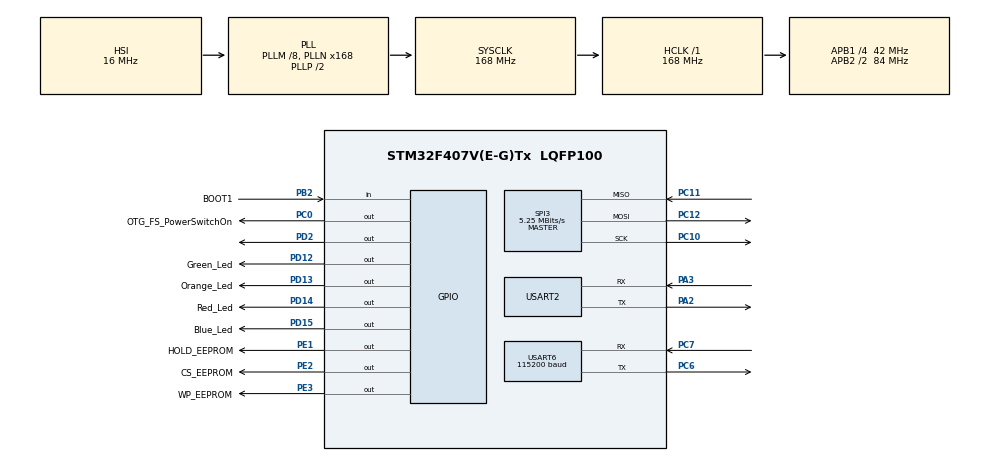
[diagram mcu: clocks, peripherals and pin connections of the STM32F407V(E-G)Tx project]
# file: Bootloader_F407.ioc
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Dma.Request0=USART6_TX
Dma.USART6_TX.0.Direction=DMA_MEMORY_TO_PERIPH
Dma.USART6_TX.0.FIFOMode=DMA_FIFOMODE_DISABLE
Dma.USART6_TX.0.Instance=DMA2_Stream6
Dma.USART6_TX.0.MemDataAlignment=DMA_MDATAALIGN_BYTE
Dma.USART6_TX.0.MemInc=DMA_MINC_ENABLE
Dma.USART6_TX.0.Mode=DMA_NORMAL
Dma.USART6_TX.0.PeriphDataAlignment=DMA_PDATAALIGN_BYTE
Dma.USART6_TX.0.PeriphInc=DMA_PINC_DISABLE
Dma.USART6_TX.0.Priority=DMA_PRIORITY_HIGH
FATFS._FS_EXFAT=1
FATFS._FS_NOFSINFO=3
FATFS._MAX_SS=4096
FATFS._MULTI_PARTITION=1
FATFS._USE_CHMOD=1
FATFS._USE_EXPAND=1
FATFS._USE_FIND=1
FATFS._USE_FORWARD=1
FATFS._USE_LABEL=1
FATFS._USE_LFN=1
FATFS._USE_TRIM=1
Mcu.Family=STM32F4
Mcu.Name=STM32F407V(E-G)Tx
Mcu.Package=LQFP100
NVIC.DMA2_Stream6_IRQn=true\:0\:0\:false\:false\:true\:false\:true
NVIC.PriorityGroup=NVIC_PRIORITYGROUP_4
NVIC.SPI3_IRQn=true\:0\:0\:false\:false\:true\:true\:true
NVIC.USART2_IRQn=true\:0\:0\:false\:false\:true\:true\:true
NVIC.USART6_IRQn=true\:0\:0\:false\:false\:true\:true\:true
PA13.GPIO_Label=SWDIO
PA13.Mode=Serial_Wire
PA13.Signal=SYS_JTMS-SWDIO
PA14.GPIO_Label=SWCLK
PA14.Mode=Serial_Wire
PA14.Signal=SYS_JTCK-SWCLK
PA2.Mode=Asynchronous
PA2.Signal=USART2_TX
PA3.Mode=Asynchronous
PA3.Signal=USART2_RX
PB2.GPIO_Label=BOOT1
PB2.GPIO_Mode=GPIO_MODE_INPUT
PB2.GPIO_PuPd=GPIO_NOPULL
PB2.Signal=GPIO_Input
PC0.GPIO_Label=OTG_FS_PowerSwitchOn
PC0.GPIO_PuPd=GPIO_NOPULL
PC0.GPIO_Speed=GPIO_SPEED_FREQ_LOW
PC0.PinState=GPIO_PIN_SET
PC0.Signal=GPIO_Output
PC10.GPIO_PuPd=GPIO_NOPULL
PC10.Mode=Full_Duplex_Master
PC10.Signal=SPI3_SCK
PC11.GPIO_PuPd=GPIO_PULLUP
PC11.Mode=Full_Duplex_Master
PC11.Signal=SPI3_MISO
PC12.GPIO_PuPd=GPIO_PULLUP
PC12.Mode=Full_Duplex_Master
PC12.Signal=SPI3_MOSI
PC14-OSC32_IN.GPIO_Label=PC14-OSC32_IN
PC14-OSC32_IN.Signal=RCC_OSC32_IN
PC6.Mode=Asynchronous
PC6.Signal=USART6_TX
PC7.Mode=Asynchronous
PC7.Signal=USART6_RX
PD12.GPIO_Label=Green_Led
PD12.GPIO_PuPd=GPIO_NOPULL
PD12.GPIO_Speed=GPIO_SPEED_FREQ_VERY_HIGH
PD12.Signal=GPIO_Output
PD13.GPIO_Label=Orange_Led
PD13.GPIO_PuPd=GPIO_NOPULL
PD13.GPIO_Speed=GPIO_SPEED_FREQ_VERY_HIGH
PD13.Signal=GPIO_Output
PD14.GPIO_Label=Red_Led
PD14.GPIO_PuPd=GPIO_NOPULL
PD14.GPIO_Speed=GPIO_SPEED_FREQ_VERY_HIGH
PD14.Signal=GPIO_Output
PD15.GPIO_Label=Blue_Led
PD15.GPIO_PuPd=GPIO_NOPULL
PD15.GPIO_Speed=GPIO_SPEED_FREQ_VERY_HIGH
PD15.Signal=GPIO_Output
PD2.GPIO_PuPd=GPIO_PULLUP
PD2.GPIO_Speed=GPIO_SPEED_FREQ_MEDIUM
PD2.PinState=GPIO_PIN_SET
PD2.Signal=GPIO_Output
PE1.GPIO_Label=HOLD_EEPROM
PE1.PinState=GPIO_PIN_SET
PE1.Signal=GPIO_Output
PE2.GPIO_Label=CS_EEPROM
PE2.GPIO_PuPd=GPIO_PULLUP
PE2.GPIO_Speed=GPIO_SPEED_FREQ_MEDIUM
PE2.PinState=GPIO_PIN_SET
PE2.Signal=GPIO_Output
PE3.GPIO_Label=WP_EEPROM
PE3.GPIO_PuPd=GPIO_NOPULL
PE3.PinState=GPIO_PIN_RESET
PE3.Signal=GPIO_Output
PH0-OSC_IN.GPIO_Label=PH0-OSC_IN
PH0-OSC_IN.Mode=HSE-External-Oscillator
PH0-OSC_IN.Signal=RCC_OSC_IN
PH1-OSC_OUT.GPIO_Label=PH1-OSC_OUT
PH1-OSC_OUT.Mode=HSE-External-Oscillator
PH1-OSC_OUT.Signal=RCC_OSC_OUT
ProjectManager.HeapSize=0x2000
ProjectManager.StackSize=0x4000
ProjectManager.TargetToolchain=STM32CubeIDE
RCC.48MHZClocksFreq_Value=48000000
RCC.AHBFreq_Value=168000000
RCC.APB1CLKDivider=RCC_HCLK_DIV4
RCC.APB1Freq_Value=42000000
RCC.APB1TimFreq_Value=84000000
RCC.APB2CLKDivider=RCC_HCLK_DIV2
RCC.APB2Freq_Value=84000000
RCC.APB2TimFreq_Value=168000000
RCC.CortexFreq_Value=168000000
RCC.HCLKFreq_Value=168000000
RCC.HSE_VALUE=5000000
RCC.HSI_VALUE=16000000
RCC.LSE_VALUE=32768
RCC.PLLM=8
RCC.PLLN=168
RCC.PLLQ=7
RCC.SYSCLKFreq_VALUE=168000000
RCC.SYSCLKSource=RCC_SYSCLKSOURCE_PLLCLK
RCC.VCOOutputFreq_Value=336000000
RTC.Date=9
RTC.Month=RTC_MONTH_MAY
RTC.Year=23
SPI3.BaudRatePrescaler=SPI_BAUDRATEPRESCALER_8
SPI3.CLKPhase=SPI_PHASE_1EDGE
SPI3.CLKPolarity=SPI_POLARITY_LOW
SPI3.CRCCalculation=SPI_CRCCALCULATION_DISABLE
SPI3.CalculateBaudRate=5.25 MBits/s
SPI3.DataSize=SPI_DATASIZE_8BIT
SPI3.Direction=SPI_DIRECTION_2LINES
SPI3.Mode=SPI_MODE_MASTER
SPI3.VirtualType=VM_MASTER
USART2.VirtualMode=VM_ASYNC
USART6.BaudRate=115200
USART6.VirtualMode=VM_ASYNC
VP_CRC_VS_CRC.Mode=CRC_Activate
VP_FATFS_VS_Generic.Mode=User_defined
VP_RNG_VS_RNG.Mode=RNG_Activate
VP_RTC_VS_RTC_Activate.Mode=RTC_Enabled
VP_RTC_VS_RTC_Calendar.Mode=RTC_Calendar
board=STM32F407G-DISC1
wolfSSL.I-CUBE-wolfSSL.5.6.0.WOLF_CONF_MD5=1
wolfSSL.I-CUBE-wolfSSL.5.6.0.WOLF_CONF_WOLFCRYPT_ONLY=0

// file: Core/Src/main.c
/* USER CODE BEGIN Header */
/**
  ******************************************************************************
  * @file           : main.c
  * @brief          : Main program body
  ******************************************************************************
  * @attention
  *
  * Copyright (c) 2024 STMicroelectronics.
  * All rights reserved.
  *
  * This software is licensed under terms that can be found in the LICENSE file
  * in the root directory of this software component.
  * If no LICENSE file comes with this software, it is provided AS-IS.
  *
  ******************************************************************************
  */
/* USER CODE END Header */
#include "main.h"
#include "fatfs.h"

/* USER CODE BEGIN Includes */

#include "stdio.h"
#include "config.h"
#include <string.h>

/* USER CODE END Includes */

CRC_HandleTypeDef hcrc;

RNG_HandleTypeDef hrng;

RTC_HandleTypeDef hrtc;

SPI_HandleTypeDef hspi3;

UART_HandleTypeDef huart2;
UART_HandleTypeDef huart6;
DMA_HandleTypeDef hdma_usart6_tx;

/* USER CODE BEGIN PV */

FATFS fs;
FIL file;
//FIL destIP;
//FIL maskIP;
//FIL gateIP;
//FIL newFirmware;
extern uint32_t * _sapp;
extern uint32_t * _eapp;
#define FLASH_APP_START_ADDESS (uint32_t) & _sapp
#define FLASH_APP_END_ADDRESS (uint32_t) & _eapp
/* Function pointer for jumping to user application. */
typedef void (*pFunction)(void);
#define FLASH_SECTOR_0_ADDR      0x08000000          // Sector 0, 16 Kbytes
#define FLASH_SECTOR_1_ADDR      0x08004000          // Sector 1, 16 Kbytes
#define FLASH_SECTOR_2_ADDR      0x08008000          // Sector 2, 16 Kbytes
#define FLASH_SECTOR_3_ADDR      0x0800C000          // Sector 3, 16 Kbytes
#define FLASH_SECTOR_4_ADDR      0x08010000          // Sector 4, 64 Kbytes
#define FLASH_SECTOR_5_ADDR      0x08020000          // Sector 5, 128 Kbytes
#define FLASH_SECTOR_6_ADDR      0x08040000          // Sector 6, 128 Kbytes
#define FLASH_SECTOR_7_ADDR      0x08060000          // Sector 7, 128 Kbytes
#define FLASH_SECTOR_8_ADDR      0x08080000          // Sector 8, 128 Kbytes
#define FLASH_SECTOR_9_ADDR      0x080A0000          // Sector 9, 128 Kbytes
#define FLASH_SECTOR_10_ADDR     0x080C0000          // Sector 10, 128 Kbytes
#define FLASH_SECTOR_11_ADDR     0x080E0000          // Sector 11, 128 Kbytes
#define FLASH_LAST_ADDR          0x080FFFFE
#define APP_ADDR             FLASH_SECTOR_4_ADDR
#define FIRMWARE_SECTION_ADDR    APP_ADDR + 0x188
#define  NUM_WORLDS              12288
uint32_t bufFW[NUM_WORLDS];         // 12288 * 4 байт
#define   numSectorsErase        3

uint32_t flashReadWorld(uint32_t address){
    return (*(__IO uint32_t*)address);
}

void printFlash(uint32_t address, uint32_t numByte){
    for (int i = 0; i < numByte/4 ; ++i){
        printf("address: %X value: %.8X\r\n", address + i*4, flashReadWorld(address + i*4));
    }
}

void readDirSD(char * nameFirmware, uint32_t * sizeFirmware ){
//    puts("\r\nDisplay Directory on SD\r");
      {
        DIR dir;
        char *path;
        char string[128];
        path = ""; // where you want to list
        uint8_t res = f_opendir(&dir, path);
        if (res != FR_OK){
//          printf("res = %d f_opendir\r\n", res);
            printf("SD not found\r\n");
        }
        if (res == FR_OK)
        {
          while(1)
          {
            FILINFO fno;
            res = f_readdir(&dir, &fno);

            if (res != FR_OK){
              printf("res = %d f_readdir\r\n", res);
            }

            if ((res != FR_OK) || (fno.fname[0] == 0))
              break;

            sprintf(string, "%c%c%c%c %10d %s/%s\r",
              ((fno.fattrib & AM_DIR) ? 'D' : '-'),
              ((fno.fattrib & AM_RDO) ? 'R' : '-'),
              ((fno.fattrib & AM_SYS) ? 'S' : '-'),
              ((fno.fattrib & AM_HID) ? 'H' : '-'),
              (int)fno.fsize, path, fno.fname);

            if (strstr(fno.fname, ".bin") != NULL) {
                strcpy(nameFirmware, fno.fname);
                *sizeFirmware = (int)fno.fsize;
            }
            puts(string);
          }
        }
      }
//    puts("");
}
void firmware_run(void) {

    uint32_t appStack = (uint32_t) *((uint32_t *) APP_ADDR);
    pFunction appEntry = (pFunction) *(uint32_t *) (APP_ADDR + 4);
    SCB->VTOR = APP_ADDR;
    __set_MSP(appStack);
    appEntry();
}
int fw_check(void)
{
    extern void* _estack; // Это из линкера, генерируется автоматически и указывает на конец RAM (или стек)
//    printf("_estack:\t\t\t %p\r\n", (uint32_t*)&_estack);
    // Проверка первого адреса прошивки, значение в нем должно быть размером RAM (регистр SP)
//    if (((*(uint32_t*) FLASH_APP_START_ADDESS) & 0x2FFF8000) != &_estack) //Непонятно зачем &
    if ((*(uint32_t*) FLASH_APP_START_ADDESS) != &_estack)
    {
        printf("not found firmware on %p\r\n", (uint32_t*)&_sapp);
        return -1;
    }
    return 0;
}
int _write(int fd, char *str, int len)
{
    for(int i=0; i<len; i++)
    {
        HAL_UART_Transmit(&huart6, (uint8_t *)&str[i], 1, 0xFFFF);
    }
    return len;
}
uint8_t writeFlash (uint32_t addr, uint32_t* buf, uint32_t numWorlds){
    printf("invoke writeFlash\r\n");
    HAL_StatusTypeDef status = HAL_OK;

    __disable_irq();
    HAL_FLASH_Unlock();
    for (uint32_t i = 0; i < numWorlds; i++) {
        status += HAL_FLASH_Program(FLASH_TYPEPROGRAM_WORD, addr, buf[i]);
//        printf("HAL_FLASH_Program addr: %lX data: %lX\r\n", addr, buf[i]);
        addr += 4;
    }
    __enable_irq();
     HAL_FLASH_Lock();

    return status;
}
uint8_t eraseFlashSectors(uint32_t sector, uint32_t number){
    printf("invoke eraseFlashSectors\r\n");
//    __HAL_FLASH_CLEAR_FLAG(FLASH_FLAG_EOP | FLASH_FLAG_OPERR | FLASH_FLAG_WRPERR | FLASH_FLAG_PGAERR | FLASH_FLAG_PGPERR | FLASH_FLAG_PGSERR);
    FLASH_EraseInitTypeDef FlashErase;                     // структура для функции стирания страницы
    uint32_t sectorError = 0;                              // переменная для записи информации об ошибках в процессе стирания
    __disable_irq();
    HAL_FLASH_Unlock();
    FlashErase.TypeErase = FLASH_TYPEERASE_SECTORS;
    FlashErase.NbSectors = number;
    FlashErase.Sector = sector;
    FlashErase.VoltageRange = VOLTAGE_RANGE_3;
    if (HAL_FLASHEx_Erase(&FlashErase, &sectorError) != HAL_OK) {  // вызов функции стирания
        __enable_irq();
        HAL_FLASH_Lock();
        return HAL_ERROR;
    }
    __enable_irq();
    return HAL_OK;
}
void startUpdateFirmware(FIL* fp, const TCHAR* path, uint32_t len){
    printf("\r\n************* Start update Firmware ************\r\n");

    f_open(fp, path, FA_READ );
    if (fp->obj.objsize > 0){
        if (eraseFlashSectors(FLASH_SECTOR_4, numSectorsErase) == HAL_OK){
            printf ("erased %d flash sectors from %d to %d \r\n", numSectorsErase, FLASH_SECTOR_4, FLASH_SECTOR_4 + numSectorsErase -1);
        //Вычисляем n (раз по BLOCK_SIZE) и m  (остаток байт)
            uint8_t n = len / (NUM_WORLDS * 4);

            uint32_t m = len % (NUM_WORLDS * 4);
            printf ("firmware - %d part (%d) + %d byte\r\n", n, NUM_WORLDS * 4, m);

            UINT bytesRead;
            uint32_t addresFlashWrite = FLASH_APP_START_ADDESS;
            for (uint8_t i = 0; i < n; ++i){
                f_read(fp, bufFW, NUM_WORLDS * 4, &bytesRead);
                printf ("read %d byte\r\n", bytesRead);
                printf ("flash address 0x%X \r\n", addresFlashWrite);
//Запись во FLASH
                if (writeFlash(addresFlashWrite, bufFW, NUM_WORLDS) == HAL_OK){
                    printf ("WRITE FLASH to address %X %d byte\r\n", addresFlashWrite, NUM_WORLDS * 4);
                }
                else {
                    printf ("ERROR WRITE FLASH to address %X %d byte\r\n", addresFlashWrite, NUM_WORLDS * 4);
                }

                addresFlashWrite += NUM_WORLDS * 4;
            }
//Остаток m байт
            f_read(fp, bufFW, m, &bytesRead);
            printf ("read %d byte\r\n", bytesRead);
            printf ("flash address 0x%X \r\n", addresFlashWrite);

            if (writeFlash(addresFlashWrite, bufFW, m / 4) == HAL_OK){
                printf ("WRITE FLASH to address %X %d byte\r\n", addresFlashWrite, m);
            }
            else {
                printf ("ERROR WRITE FLASH to address %X %d byte\r\n", addresFlashWrite, m);
            }

        }//if (eraseFlashSectors(FLASH_SECTOR_4, numSectorsErase) == HAL_OK)
        else {
            printf ("error erased flash sectors \r\n");
        }
    }//if (fp->obj.objsize > 0)
    f_close(fp);
}

/* USER CODE END PV */

void SystemClock_Config(void);
static void MX_GPIO_Init(void);
static void MX_DMA_Init(void);
static void MX_USART6_UART_Init(void);
static void MX_SPI3_Init(void);
static void MX_RNG_Init(void);
static void MX_RTC_Init(void);
static void MX_USART2_UART_Init(void);
static void MX_CRC_Init(void);

int main(void)
{

  /* MCU Configuration--------------------------------------------------------*/

  /* Reset of all peripherals, Initializes the Flash interface and the Systick. */
  HAL_Init();

  /* Configure the system clock */
  SystemClock_Config();

  /* Initialize all configured peripherals */
  MX_GPIO_Init();
  MX_DMA_Init();
  MX_USART6_UART_Init();
  MX_SPI3_Init();
  MX_FATFS_Init();
  MX_RNG_Init();
  MX_RTC_Init();
  MX_USART2_UART_Init();
  MX_CRC_Init();
  /* USER CODE BEGIN 2 */
//    printf("************************************************\r\n");
    printf("version bootloader: %.2d_%.2d\r\n", main_FW, patch_FW);
//    printf("start address APP:\t\t %p\r\n", (uint32_t*)&_sapp);
//    printf("end   address APP:\t\t %p\r\n", (uint32_t*)&_eapp);
    f_mount(&fs, "", 0);
    char nameFw[100];
    uint32_t sizeFw = 0;
    readDirSD(nameFw, &sizeFw);
    if (sizeFw > 0){
        printf ("fount firmware file: %s size: %d\r\n",nameFw, sizeFw);
        startUpdateFirmware(&file, nameFw, sizeFw);
    }

    if (0 == fw_check()){

//Читаем данные по адресу APP_ADDR + 0x188(размер таблицы векторов)

//        printFlash(FIRMWARE_SECTION_ADDR, 4 * 10);                   //Передается 10 слов в новой секции
//        printf("num version: %d\r\n",flashReadWorld(FIRMWARE_SECTION_ADDR));
//        printf("num patch: %d\r\n",flashReadWorld(FIRMWARE_SECTION_ADDR + 4));
//        printf("year: %d\r\n", 2000 + flashReadWorld(FIRMWARE_SECTION_ADDR + 8));
//        printf("month: %d\r\n",flashReadWorld(FIRMWARE_SECTION_ADDR + 12));
//        printf("day: %d\r\n",flashReadWorld(FIRMWARE_SECTION_ADDR + 16));
//        printf("hour: %d\r\n",flashReadWorld(FIRMWARE_SECTION_ADDR + 20));
//        printf("min: %d\r\n",flashReadWorld(FIRMWARE_SECTION_ADDR + 24));
//        printf("sec: %d\r\n",flashReadWorld(FIRMWARE_SECTION_ADDR + 28));

//        printf("in address %p found main firmware ", (uint32_t*)&_sapp);
//        printf("version %.2d_%.2d ",flashReadWorld(FIRMWARE_SECTION_ADDR),flashReadWorld(FIRMWARE_SECTION_ADDR + 4));
//        printf("created %.4d-%.2d-%.2d %.2dh:%.2dm:%.2ds\r\n",
//               2000 + flashReadWorld(FIRMWARE_SECTION_ADDR + 8),
//               flashReadWorld(FIRMWARE_SECTION_ADDR + 12),
//               flashReadWorld(FIRMWARE_SECTION_ADDR + 16),
//               flashReadWorld(FIRMWARE_SECTION_ADDR + 20),
//               flashReadWorld(FIRMWARE_SECTION_ADDR + 24),
//               flashReadWorld(FIRMWARE_SECTION_ADDR + 28)
//               );
        printf("******* Send control for main Firmware *********\r\n\n\n");
        firmware_run();
    }

  /* USER CODE END 2 */

  /* Infinite loop */
  while (1)
  {

  }
}

void SystemClock_Config(void)
{
  RCC_OscInitTypeDef RCC_OscInitStruct = {0};
  RCC_ClkInitTypeDef RCC_ClkInitStruct = {0};

  /** Configure the main internal regulator output voltage
  */
  __HAL_RCC_PWR_CLK_ENABLE();
  __HAL_PWR_VOLTAGESCALING_CONFIG(PWR_REGULATOR_VOLTAGE_SCALE1);
  /** Initializes the RCC Oscillators according to the specified parameters
  * in the RCC_OscInitTypeDef structure.
  */
  RCC_OscInitStruct.OscillatorType = RCC_OSCILLATORTYPE_HSI|RCC_OSCILLATORTYPE_LSI;
  RCC_OscInitStruct.HSIState = RCC_HSI_ON;
  RCC_OscInitStruct.HSICalibrationValue = RCC_HSICALIBRATION_DEFAULT;
  RCC_OscInitStruct.LSIState = RCC_LSI_ON;
  RCC_OscInitStruct.PLL.PLLState = RCC_PLL_ON;
  RCC_OscInitStruct.PLL.PLLSource = RCC_PLLSOURCE_HSI;
  RCC_OscInitStruct.PLL.PLLM = 8;
  RCC_OscInitStruct.PLL.PLLN = 168;
  RCC_OscInitStruct.PLL.PLLP = RCC_PLLP_DIV2;
  RCC_OscInitStruct.PLL.PLLQ = 7;
  if (HAL_RCC_OscConfig(&RCC_OscInitStruct) != HAL_OK)
  {
    Error_Handler();
  }
  /** Initializes the CPU, AHB and APB buses clocks
  */
  RCC_ClkInitStruct.ClockType = RCC_CLOCKTYPE_HCLK|RCC_CLOCKTYPE_SYSCLK
                              |RCC_CLOCKTYPE_PCLK1|RCC_CLOCKTYPE_PCLK2;
  RCC_ClkInitStruct.SYSCLKSource = RCC_SYSCLKSOURCE_PLLCLK;
  RCC_ClkInitStruct.AHBCLKDivider = RCC_SYSCLK_DIV1;
  RCC_ClkInitStruct.APB1CLKDivider = RCC_HCLK_DIV4;
  RCC_ClkInitStruct.APB2CLKDivider = RCC_HCLK_DIV2;

  if (HAL_RCC_ClockConfig(&RCC_ClkInitStruct, FLASH_LATENCY_5) != HAL_OK)
  {
    Error_Handler();
  }
}

static void MX_CRC_Init(void)
{

  hcrc.Instance = CRC;
  if (HAL_CRC_Init(&hcrc) != HAL_OK)
  {
    Error_Handler();
  }

}

static void MX_RNG_Init(void)
{

  hrng.Instance = RNG;
  if (HAL_RNG_Init(&hrng) != HAL_OK)
  {
    Error_Handler();
  }

}

static void MX_RTC_Init(void)
{

  RTC_TimeTypeDef sTime = {0};
  RTC_DateTypeDef sDate = {0};

  /** Initialize RTC Only
  */
  hrtc.Instance = RTC;
  hrtc.Init.HourFormat = RTC_HOURFORMAT_24;
  hrtc.Init.AsynchPrediv = 127;
  hrtc.Init.SynchPrediv = 255;
  hrtc.Init.OutPut = RTC_OUTPUT_DISABLE;
  hrtc.Init.OutPutPolarity = RTC_OUTPUT_POLARITY_HIGH;
  hrtc.Init.OutPutType = RTC_OUTPUT_TYPE_OPENDRAIN;
  if (HAL_RTC_Init(&hrtc) != HAL_OK)
  {
    Error_Handler();
  }

  /** Initialize RTC and set the Time and Date
  */
  sTime.Hours = 0x0;
  sTime.Minutes = 0x0;
  sTime.Seconds = 0x0;
  sTime.DayLightSaving = RTC_DAYLIGHTSAVING_NONE;
  sTime.StoreOperation = RTC_STOREOPERATION_RESET;
  if (HAL_RTC_SetTime(&hrtc, &sTime, RTC_FORMAT_BCD) != HAL_OK)
  {
    Error_Handler();
  }
  sDate.WeekDay = RTC_WEEKDAY_MONDAY;
  sDate.Month = RTC_MONTH_MAY;
  sDate.Date = 0x9;
  sDate.Year = 0x23;

  if (HAL_RTC_SetDate(&hrtc, &sDate, RTC_FORMAT_BCD) != HAL_OK)
  {
    Error_Handler();
  }

}

static void MX_SPI3_Init(void)
{

  /* SPI3 parameter configuration*/
  hspi3.Instance = SPI3;
  hspi3.Init.Mode = SPI_MODE_MASTER;
  hspi3.Init.Direction = SPI_DIRECTION_2LINES;
  hspi3.Init.DataSize = SPI_DATASIZE_8BIT;
  hspi3.Init.CLKPolarity = SPI_POLARITY_LOW;
  hspi3.Init.CLKPhase = SPI_PHASE_1EDGE;
  hspi3.Init.NSS = SPI_NSS_SOFT;
  hspi3.Init.BaudRatePrescaler = SPI_BAUDRATEPRESCALER_8;
  hspi3.Init.FirstBit = SPI_FIRSTBIT_MSB;
  hspi3.Init.TIMode = SPI_TIMODE_DISABLE;
  hspi3.Init.CRCCalculation = SPI_CRCCALCULATION_DISABLE;
  hspi3.Init.CRCPolynomial = 10;
  if (HAL_SPI_Init(&hspi3) != HAL_OK)
  {
    Error_Handler();
  }

}

static void MX_USART2_UART_Init(void)
{

  huart2.Instance = USART2;
  huart2.Init.BaudRate = 115200;
  huart2.Init.WordLength = UART_WORDLENGTH_8B;
  huart2.Init.StopBits = UART_STOPBITS_1;
  huart2.Init.Parity = UART_PARITY_NONE;
  huart2.Init.Mode = UART_MODE_TX_RX;
  huart2.Init.HwFlowCtl = UART_HWCONTROL_NONE;
  huart2.Init.OverSampling = UART_OVERSAMPLING_16;
  if (HAL_UART_Init(&huart2) != HAL_OK)
  {
    Error_Handler();
  }
  /* USER CODE BEGIN USART2_Init 2 */
printf("\r\n\r\n*************** Start bootloader ***************\r\n");
  /* USER CODE END USART2_Init 2 */

}

static void MX_USART6_UART_Init(void)
{

  huart6.Instance = USART6;
  huart6.Init.BaudRate = 115200;
  huart6.Init.WordLength = UART_WORDLENGTH_8B;
  huart6.Init.StopBits = UART_STOPBITS_1;
  huart6.Init.Parity = UART_PARITY_NONE;
  huart6.Init.Mode = UART_MODE_TX_RX;
  huart6.Init.HwFlowCtl = UART_HWCONTROL_NONE;
  huart6.Init.OverSampling = UART_OVERSAMPLING_16;
  if (HAL_UART_Init(&huart6) != HAL_OK)
  {
    Error_Handler();
  }

}

static void MX_DMA_Init(void)
{

  /* DMA controller clock enable */
  __HAL_RCC_DMA2_CLK_ENABLE();

  /* DMA interrupt init */
  /* DMA2_Stream6_IRQn interrupt configuration */
  HAL_NVIC_SetPriority(DMA2_Stream6_IRQn, 0, 0);
  HAL_NVIC_EnableIRQ(DMA2_Stream6_IRQn);

}

static void MX_GPIO_Init(void)
{
  GPIO_InitTypeDef GPIO_InitStruct = {0};

  /* GPIO Ports Clock Enable */
  __HAL_RCC_GPIOE_CLK_ENABLE();
  __HAL_RCC_GPIOC_CLK_ENABLE();
  __HAL_RCC_GPIOH_CLK_ENABLE();
  __HAL_RCC_GPIOA_CLK_ENABLE();
  __HAL_RCC_GPIOB_CLK_ENABLE();
  __HAL_RCC_GPIOD_CLK_ENABLE();

  /*Configure GPIO pin Output Level */
  HAL_GPIO_WritePin(GPIOE, CS_EEPROM_Pin|HOLD_EEPROM_Pin, GPIO_PIN_SET);

  /*Configure GPIO pin Output Level */
  HAL_GPIO_WritePin(WP_EEPROM_GPIO_Port, WP_EEPROM_Pin, GPIO_PIN_RESET);

  /*Configure GPIO pin Output Level */
  HAL_GPIO_WritePin(OTG_FS_PowerSwitchOn_GPIO_Port, OTG_FS_PowerSwitchOn_Pin, GPIO_PIN_SET);

  /*Configure GPIO pin Output Level */
  HAL_GPIO_WritePin(GPIOD, Green_Led_Pin|Orange_Led_Pin|Red_Led_Pin|Blue_Led_Pin, GPIO_PIN_RESET);

  /*Configure GPIO pin Output Level */
  HAL_GPIO_WritePin(GPIOD, GPIO_PIN_2, GPIO_PIN_SET);

  /*Configure GPIO pin : CS_EEPROM_Pin */
  GPIO_InitStruct.Pin = CS_EEPROM_Pin;
  GPIO_InitStruct.Mode = GPIO_MODE_OUTPUT_PP;
  GPIO_InitStruct.Pull = GPIO_PULLUP;
  GPIO_InitStruct.Speed = GPIO_SPEED_FREQ_MEDIUM;
  HAL_GPIO_Init(CS_EEPROM_GPIO_Port, &GPIO_InitStruct);

  /*Configure GPIO pins : WP_EEPROM_Pin HOLD_EEPROM_Pin */
  GPIO_InitStruct.Pin = WP_EEPROM_Pin|HOLD_EEPROM_Pin;
  GPIO_InitStruct.Mode = GPIO_MODE_OUTPUT_PP;
  GPIO_InitStruct.Pull = GPIO_NOPULL;
  GPIO_InitStruct.Speed = GPIO_SPEED_FREQ_LOW;
  HAL_GPIO_Init(GPIOE, &GPIO_InitStruct);

  /*Configure GPIO pin : OTG_FS_PowerSwitchOn_Pin */
  GPIO_InitStruct.Pin = OTG_FS_PowerSwitchOn_Pin;
  GPIO_InitStruct.Mode = GPIO_MODE_OUTPUT_PP;
  GPIO_InitStruct.Pull = GPIO_NOPULL;
  GPIO_InitStruct.Speed = GPIO_SPEED_FREQ_LOW;
  HAL_GPIO_Init(OTG_FS_PowerSwitchOn_GPIO_Port, &GPIO_InitStruct);

  /*Configure GPIO pin : BOOT1_Pin */
  GPIO_InitStruct.Pin = BOOT1_Pin;
  GPIO_InitStruct.Mode = GPIO_MODE_INPUT;
  GPIO_InitStruct.Pull = GPIO_NOPULL;
  HAL_GPIO_Init(BOOT1_GPIO_Port, &GPIO_InitStruct);

  /*Configure GPIO pins : Green_Led_Pin Orange_Led_Pin Red_Led_Pin Blue_Led_Pin */
  GPIO_InitStruct.Pin = Green_Led_Pin|Orange_Led_Pin|Red_Led_Pin|Blue_Led_Pin;
  GPIO_InitStruct.Mode = GPIO_MODE_OUTPUT_PP;
  GPIO_InitStruct.Pull = GPIO_NOPULL;
  GPIO_InitStruct.Speed = GPIO_SPEED_FREQ_VERY_HIGH;
  HAL_GPIO_Init(GPIOD, &GPIO_InitStruct);

  /*Configure GPIO pin : PD2 */
  GPIO_InitStruct.Pin = GPIO_PIN_2;
  GPIO_InitStruct.Mode = GPIO_MODE_OUTPUT_PP;
  GPIO_InitStruct.Pull = GPIO_PULLUP;
  GPIO_InitStruct.Speed = GPIO_SPEED_FREQ_MEDIUM;
  HAL_GPIO_Init(GPIOD, &GPIO_InitStruct);

}

void Error_Handler(void)
{
  __disable_irq();
  while (1)
  {
  }
}
